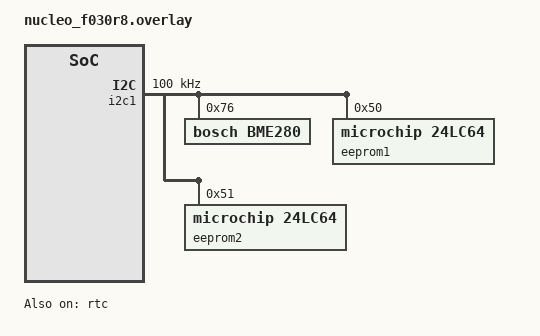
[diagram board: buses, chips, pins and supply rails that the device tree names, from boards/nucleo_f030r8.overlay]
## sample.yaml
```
sample:
  name: I2C eeprom 24LC64

tests:
  sample.sensor.tmp116:
    harness: console
    platform_allow:
      - nucleo_f030r8
    integration_platforms:
      - nucleo_f030r8
    tags: sensors
    depends_on: i2c
    harness_config:
      type: one_line
      regex:
        - "temp is (.*) oC"
      fixture: fixture_i2c_tmp116
```

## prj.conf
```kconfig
CONFIG_STDOUT_CONSOLE=y
CONFIG_I2C=y
CONFIG_SENSOR=y
CONFIG_SERIAL=y
CONFIG_RTC=y
CONFIG_COUNTER_RTC_STM32=y
CONFIG_TIMER=y

# ENABLE I2C eeprom (zephyr,i2c-target-eeprom)
# CONFIG_I2C_TARGET=y
# CONFIG_I2C_EEPROM_TARGET=y
# CONFIG_I2C_EEPROM_TARGET_RUNTIME_ADDR=y
```

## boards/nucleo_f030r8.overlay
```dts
/*
 * Copyright (c) 2023 JSC
 */

/** From st,stm32-i2c-v2.yaml

@see TIMING_R in user manual!!!

timings = <64000000 I2C_BITRATE_STANDARD 0x10707DBC>,
          <64000000 I2C_BITRATE_FAST 0x00603D56>,
          <56000000 I2C_BITRATE_STANDARD 0x10606DA4>,
          <56000000 I2C_BITRATE_FAST 0x00501D63>;
 */

&i2c1 {
	bme280@76 {
		compatible = "bosch,bme280";
		reg = <0x76>;
		status = "okay";
	};
	clock-frequency = <I2C_BITRATE_STANDARD>;
	timings = <8000000 I2C_BITRATE_STANDARD 0x10420F13>,
	          <16000000 I2C_BITRATE_STANDARD 0x30420F13>,
	          <48000000 I2C_BITRATE_STANDARD 0xB0420F13>;
	status = "okay";

	eeprom1: e24lc64@50 {
		compatible = "microchip,24lc64";
		reg = <0x50>;
		size = <8192>; // Size in bytes
		status = "okay";
	};

	eeprom2: e24lc64@51 {
		compatible = "microchip,24lc64";
		reg = <0x51>;
		size = <8192>; // Size in bytes
		status = "okay";
	};

//16.384
};

// &usart1 {
// 	pinctrl-0 = < &usart1_tx_pc13 &usart1_rx_pc14 >;
// };
// &usart1 {
// 	// usart1: serial@40013800 {
// 	// 	compatible = "st,stm32-usart", "st,stm32-uart";
// 	// 	reg = < 0x40013800 0x400 >;
// 	// 	clocks = < &rcc 0x18 0x4000 >;
// 	// 	resets = < &rctl 0x18e >;
// 	// 	interrupts = < 0x1b 0x0 >;
// 		status = "okay";
// 		// pinctrl-0 = < &usart1_tx_pc13 &usart1_rx_pc14 >;
// 	// 	pinctrl-names = "default";
// 	// 	current-speed = < 0x1c200 >;
// 	// };
// };

&rtc {
    status="okay";
    clocks = < &rcc 0x1c 0x10000000 >, < &rcc STM32_SRC_LSE RTC_SEL(1) >;
}; 

&clk_lse {
    status="okay";
    driving-capability = < 0x1 >;
    /delete-property/ lse-bypass;
};
```

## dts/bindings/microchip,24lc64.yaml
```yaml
# Copyright (c) 2023 JSC
#
# SPDX-License-Identifier: Apache-2.0

description: Microchip 24lc64 I2C eeprom

include: base.yaml

compatible: "microchip,24lc64"

properties:
  size:
    type: int
    description: Total EEPROM size in bytes
    required: true
  read-only:
    type: boolean
    description: Disable writes to the EEPROM
```

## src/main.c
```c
#include <zephyr/devicetree.h>
#include <zephyr/drivers/sensor.h>
#include <zephyr/drivers/eeprom.h>
#include <zephyr/sys/printk.h>
#include <zephyr/sys/__assert.h>
#include <zephyr/drivers/eeprom.h>
#include "rtc.h"
#include "esp8266.h"
#include "eeprom.h"

#define STACKSIZE_UPLOAD 1300
#define STACKSIZE_WIFI 350 //smaller does not work
#define STACKSIZE_SLEEP 300
#define STACKSIZE_EEPROM 470 // smaller does not work


#define rtc_device_node DT_NODELABEL(rtc) //RTC node
#define UART_DEVICE_NODE DT_NODELABEL(usart1) //Uart node
#define EEPROM_NODE DT_COMPAT_GET_ANY_STATUS_OKAY(zephyr_i2c-target-eeprom)

struct device *const uart_dev = DEVICE_DT_GET(UART_DEVICE_NODE);
static const struct device *const rtc_dev = DEVICE_DT_GET(rtc_device_node);

K_SEM_DEFINE(wifi_ready, 0, 1);  // Semaphore to signal Wi-Fi connection
K_SEM_DEFINE(wifi_fail, 0, 1);  // Semaphore to signal Wi-Fi connection
K_SEM_DEFINE(data_ready, 0, 1);      // Semaphore to signal data is ready for upload
K_SEM_DEFINE(upload_completed, 0, 1); // Semaphore to signal completed data upload
K_SEM_DEFINE(sleep_done, 0, 1); //Semaphore given by timer to start measurement




int connected = 0;
int backlogStart = 0;
int counterWrite = 0;
int firstCon = 1;


void timerInterrupt()
{
	k_sem_give(&sleep_done);
}

K_TIMER_DEFINE(timer3, timerInterrupt, NULL);


void sleepDevice() 
{	
	printk("sleep thread running\n");
	while(1)
	{
		if(firstCon==1)								//If wifi connection has been made on startup, start the timer
		{
			k_sem_take(&wifi_ready, K_FOREVER);
			printk("Wifi connected first time\n");
			k_timer_start(&timer3, K_MSEC(0), K_SECONDS(60));
			firstCon = 0;
			continue;
		}
		k_sem_take(&upload_completed, K_FOREVER);
		printk("Sleepdevice...\n");	
	}
}

void wifi_connect() 
{
	printk("wifi thread running\n");
	while(1)
	{
		k_sem_take(&wifi_fail, K_FOREVER);

		char* resp;	//String to save response from ESP															
        // resp = sendESP("AT+CWJAP=\"iPhone van Joey\",\"123456789\"\r\n", uart_dev, at);
		resp = sendESP("AT+CWJAP=\"vNoort\",\"Jol!no2020\"\r\n", uart_dev, at);
        k_sleep(K_MSEC(300));//Slight delay because the ESP needs time to set everything up
        const char *lastFourCharacters = resp + strlen(resp) - strlen("FAIL\r\n"); 			//Get the last characters to check for FAIL\r\n
        if(strcmp(lastFourCharacters, "FAIL\r\n") == 0)
        {
			if(firstCon == 1)	//If it is startup, keep trying
			{
				printk("FAIL on startup, trying again...\n");
				k_sem_give(&wifi_fail);
            	continue;
			}
			k_sem_give(&upload_completed);	//Go to sleep
			continue;
        }
		if(firstCon == 1)	//At first connection, Sync the rtc
		{
			resp = sendESP("AT+CIPSNTPCFG=1,1,\"0.nl.pool.ntp.org\"\r\n", uart_dev, at);

			k_sleep(K_MSEC(500));				//For some reason the ESP needs time to get the config right otherwise it will return Epoch 0

			resp = sendESP("AT+CIPSNTPTIME?\r\n", uart_dev, at);						
			k_sleep(K_MSEC(200));
			parseTime(resp, rtc_dev);			//Parse the response of the ESP to get the correct time in the RTC
			connected=1;
			k_sem_give(&wifi_ready);
		}
		else
		{
			connected=1;						//Signal to other functions that there is/should be an internet connection
			k_sem_give(&data_ready);
		}
	}
}

void eeprom_thread() {
	printk("TEST eeprom\n");

    while (1) {
		k_sem_take(&sleep_done, K_FOREVER);
        // Perform EEPROM operations
		const struct device *sensor = DEVICE_DT_GET_ANY(bosch_bme280);
		struct sensor_value temp, press, humidity;
		int8_t * data[6];
		int8_t recieved;
		int32_t time = getEpochTime(rtc_dev);
		printk("Returned time: %d\n", time);
		
		//recieve the data from the sensor
		sensor_sample_fetch(sensor);
		sensor_channel_get(sensor, SENSOR_CHAN_AMBIENT_TEMP, &temp);
		sensor_channel_get(sensor, SENSOR_CHAN_PRESS, &press);
		sensor_channel_get(sensor, SENSOR_CHAN_HUMIDITY, &humidity);

		//convert the data from the sensor to int8_t for effiecient storage
		data[0] = temp.val1;
		data[1] = temp.val2/10000;
		data[2] = press.val1;
		data[3] = press.val2/10000;
		data[4] = humidity.val1;
		data[5] = humidity.val2/10000;    

		printk("\n%d %d.%02d %d.%02d %d.%02d %d\n",
		time, data[0], data[1], data[2], data[3], data[4], data[5], counterWrite/10);

		writeBigEeprom(counterWrite,time);
		//count four by the counter because time is four bytes instead of one
		counterWrite = counterWrite + 4;
		time++;
		k_sleep(K_MSEC(10));
		for(int x = 0; x<6; x++)
		{
			writeEeprom(counterWrite,data[x]);
			//count by one because data is one byte
			counterWrite++;
			k_sleep(K_MSEC(10));
		}

		if(counterWrite > 14400)
		{
			//if the counter reaches this number there will be an backlog of 24 hours
			counterWrite = 0;
		}

		if(connected == 0)
		{
			printk("Retry wifi connect\n");
			k_sem_give(&wifi_fail);
		}

        // Signal that data is ready for upload
        k_sem_give(&data_ready);
    }
}

void upload_thread() {
	printk("upload thread running\n");
	int32_t lastTime = 0;

	while(1)
	{
		// Wait for data to be ready for upload
		k_sem_take(&data_ready, K_FOREVER);
		uint8_t sent = 0;	//Track the amount of sucessfull requests
		if(connected==0)	//If wifi connect fails, go to sleep
		{
			k_sem_give(&upload_completed);
			continue;
		}
		

		char* resp;
		resp = sendESP("AT\r\n", uart_dev, at);
		do
		{
			storageData data = returnStorageData(backlogStart);	//Get data from eeprom
			measurementStruct meas;

			if(data.time < lastTime)	//If the new time is longer ago than the last time, add 60 seconds to the last time. --This had to do with not reading the right value out of eeprom every 16 times due to using 10 bytes per measurement instead of something divisable by 4
			{
				lastTime += 60;
				meas = sendMeasurement(data.temp1,data.temp2, data.press1,data.press2, data.humid1,data.humid2, lastTime, uart_dev);
			}
			else
			{
				printk("Lasttime: %ld, this time: %ld\n", lastTime, data.time);
				meas = sendMeasurement(data.temp1,data.temp2, data.press1,data.press2, data.humid1,data.humid2, data.time, uart_dev);
				lastTime = data.time;
			}

			 
			printk("COUNTERWRITE: %d\n", counterWrite);
			printk("BACKLOGSTART: %d\n", backlogStart);
			
			resp = sendESP(meas.tcp, uart_dev, tcp);											//CIPSTART
			// printk("%s", resp);
			k_sleep(K_MSEC(500));
			const char *lastFourCharacters;
			lastFourCharacters = resp + strlen(resp) - strlen("ERROR\r\n");
			if(strcmp(lastFourCharacters, "ERROR\r\n") == 0)									//If it fails, connection must have been lost so jump out of do-while and sleep
			{
				connected = 0;
				printk("Upload failed\n");
				k_sem_give(&upload_completed);
				break;
			}

			resp = sendESP(meas.cipsend, uart_dev, tcp);										//CIPSEND=
			// printk("%s", resp);
			k_sleep(K_MSEC(200));
			lastFourCharacters = resp + strlen(resp) - strlen("ERROR\r\n");
			if(strcmp(lastFourCharacters, "ERROR\r\n") == 0)									//If it fails, connection must have been lost so jump out of do-while and sleep
			{
				connected = 0;
				printk("Upload failed\n");
				k_sem_give(&upload_completed);
				break;
			}
			else{//Successfull request
				resp = sendESP(meas.request, uart_dev, req);									//GET REQUEST
				lastFourCharacters = resp + strlen(resp) - strlen("ERROR\r\n");
				if(strcmp(lastFourCharacters, "ERROR\r\n") == 0)									//If it fails, connection must have been lost so jump out of do-while and sleep
				{
					connected = 0;
					printk("Upload failed\n");
					k_sem_give(&upload_completed);
					break;
				}

				
			}
			sent++;	//Request sucessfull
			backlogStart += 10;	//Backlog +10 for eeprom index
			if(backlogStart > 14400)	//Go back to 0 if maximum eeprom index is reached
			{
				backlogStart = 0;
			}
			k_sleep(K_MSEC(100));
			resp = sendESP("AT+CIPCLOSE\r\n", uart_dev, at);	//Close connection to website

		}while(backlogStart != counterWrite || sent > 47);		//To make sure a measurement is not done in the middle of a ESP uart message, limit to 48 emasurements per minute.

		if(connected != 0)	//If the while loop is broken out of, then connection was lost and we set the backlogstart to counterwrite to ensure that when wifi is back all measurements are sent to the database
		{
			backlogStart = counterWrite;
			k_sem_give(&upload_completed);		
		}
	}
}


K_THREAD_DEFINE(wifi_connect_id, STACKSIZE_WIFI, wifi_connect, NULL, NULL, NULL, 7, 0, 0);
K_THREAD_DEFINE(eeprom_thread_id, STACKSIZE_EEPROM, eeprom_thread, NULL, NULL, NULL, 5, 0, 0);
K_THREAD_DEFINE(upload_thread_id, STACKSIZE_UPLOAD, upload_thread, NULL, NULL, NULL, 7, 0, 0);
K_THREAD_DEFINE(waiting_thread_id, STACKSIZE_SLEEP, sleepDevice, NULL, NULL, NULL, 7, 0, 0);

// K_THREAD_STACK_DEFINE(wifi_connect_stack, STACKSIZE_WIFI);
// K_THREAD_STACK_DEFINE(eeprom_thread_stack, STACKSIZE);
// K_THREAD_STACK_DEFINE(upload_thread_stack, STACKSIZE);
// K_THREAD_STACK_DEFINE(waiting_thread_stack, STACKSIZE);

void main(void) {

	printk("TEST MAIN\n");
    if (!device_is_ready(uart_dev)) {
        printk("UART device not found!");
        return;
    }
	int ret = uart_irq_callback_user_data_set(uart_dev, readUsart, NULL);
    uart_irq_rx_enable(uart_dev);

	k_sem_give(&wifi_fail);
    // Wait forever
    k_sleep(K_FOREVER);
}

   
```

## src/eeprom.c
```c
#include "eeprom.h"

#include <zephyr/kernel.h>
#include <zephyr/device.h>
#include <zephyr/drivers/sensor.h>
#include <zephyr/drivers/eeprom.h>
#include <zephyr/sys/printk.h>
#include <zephyr/sys/__assert.h>
#include <zephyr/devicetree.h>
#include <zephyr/drivers/eeprom.h>

#define NODE_EP1 DT_NODELABEL(eeprom1)
#define NODE_EP2 DT_NODELABEL(eeprom2)
const struct device *const dev1 = DEVICE_DT_GET(NODE_EP1);
const struct device *const dev2 = DEVICE_DT_GET(NODE_EP2);

void writeEeprom(int counter, int8_t data)
{
//this function is for writing 1 byte to eeprom
	int ret;
	//because we use 2 eeprom chips the first half will be stored on one chip and the other on the other half
	if (counter < 7200) {
		ret = eeprom_write(dev1, counter, &data, sizeof(data));
	} else {
		//the -7200 is because the writing needs to start at 0 not 7200
		ret = eeprom_write(dev2, counter - 7200, &data, sizeof(data));
	}
	if (ret) {
		printk("Failed to write eeprom (%d)\n", ret);
	}
}

void writeBigEeprom(int counter, int32_t data)
{
//this function is for writing 4 bytes to eeprom
	int ret;
	if (counter < 7200) {
		ret = eeprom_write(dev1, counter, &data, sizeof(data));
	} else {
		ret = eeprom_write(dev2, counter - 7200, &data, sizeof(data));
	}
	if (ret) {
		printk("Failed to write eeprom (%d)\n", ret);
	}
}

int8_t readEeprom(int counter)
{
//this function is to read 1 byte from the eeprom chip
	int ret;
	int8_t data;
	int8_t eeprom_data[sizeof(int8_t)];

	if (counter < 7200) {
		ret = eeprom_read(dev1, counter, eeprom_data, sizeof(eeprom_data));
	} else {
		ret = eeprom_read(dev2, counter - 7200, eeprom_data, sizeof(eeprom_data));
	}
	if (ret) {
		printk("Failed to read eeprom (%d)\n", ret);
	}
	
	data = (uint8_t)(*eeprom_data);
	k_sleep(K_USEC(5));
	return data;
}

int32_t readBigEeprom(int counter)
{
//this function is to read 4 bytes from the eeprom chip
	int ret;
	int32_t data;
	int32_t eeprom_data[sizeof(int8_t)];

	if (counter < 7200) {
		ret = eeprom_read(dev1, counter, eeprom_data, sizeof(eeprom_data));
	} else {
		ret = eeprom_read(dev2, counter - 7200, eeprom_data, sizeof(eeprom_data));
	}
	if (ret) {
		printk("Failed to read eeprom (%d)\n", ret);
	}
	
	data = (uint32_t)(*eeprom_data);
	k_sleep(K_USEC(10));
	return data;
}

storageData returnStorageData(int counter)
{
//this function return a struct with the data needed
	int dataCounter = counter;
	storageData data;
	data.time = readBigEeprom(dataCounter);
	dataCounter = dataCounter + 4;
	data.temp1 = readEeprom(dataCounter);
	dataCounter++;
	data.temp2 = readEeprom(dataCounter);
	dataCounter++;
	data.press1 = readEeprom(dataCounter);
	dataCounter++;
	data.press2 = readEeprom(dataCounter);
	dataCounter++;
	data.humid1 = readEeprom(dataCounter);
	dataCounter++;
	data.humid2 = readEeprom(dataCounter);
	printk("Time read from eeprom: %d\n", data.time);
	return data;
}
```

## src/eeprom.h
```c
#ifndef EEPROM_H_
#define EEPROM_H_
#include <stdio.h>
#include <stdint.h>
#include <time.h>

typedef struct 
{
    int8_t temp1;
    int8_t temp2;
    int8_t press1;
    int8_t press2;
    int8_t humid1;
    int8_t humid2;
    int32_t time;
}storageData;

storageData returnStorageData(int counter);
void writeEeprom( int counter, int8_t data );
void writeBigEeprom( int counter, int32_t data);
int8_t readEeprom( int counter);
int32_t readBigEeprom( int counter);

#endif /* EEPROM_H_ */
```

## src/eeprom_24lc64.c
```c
/*
 * Copyright (c) 2023 JSC
 *
 * SPDX-License-Identifier: Apache-2.0
 */


#include <zephyr/devicetree.h>
#include <zephyr/init.h>
#include <zephyr/drivers/eeprom.h>
#include <zephyr/drivers/i2c.h>
#include <zephyr/sys/printk.h>
#include <zephyr/logging/log.h>
#include "eeprom_24lc64.h"

#define DT_DRV_COMPAT microchip_24lc64
#define EEPROM_24LC64_SIZE 8*1024  // 64kbits, 8kB
#define DT_EEPROM_SIZE_LABEL size

LOG_MODULE_REGISTER(eeprom_24lc64, CONFIG_LOG_DEFAULT_LEVEL);


struct eeprom_24lc64_config {
	struct i2c_dt_spec i2c;
	uint16_t size;
};

static size_t eeprom_24lc64_size(const struct device *dev)
{
	int size = ((struct eeprom_24lc64_config*)dev->config)->size;
	return size;

}

static bool check_eeprom_bounds(const struct device *dev, off_t offset,
			       size_t len)
{
	if ((offset + len) > eeprom_24lc64_size(dev) ) {
		return false;
	}

	return true;
}


static int eeprom_24lc64_write(const struct device *dev, off_t offset,
			       const void *data, size_t len)
{
	const struct eeprom_24lc64_config *config = dev->config;

	if (!check_eeprom_bounds(dev, offset, len)) {
		return -EINVAL;
	}

	struct i2c_msg msg[2];
	uint16_t address = ((offset & 0xFF) << 8) | ((offset >> 8) & 0xFF);

	msg[0].buf = (uint8_t *)&address;
	msg[0].len = sizeof(address);
	msg[0].flags = I2C_MSG_WRITE;

	msg[1].buf = (uint8_t *)data;
	msg[1].len = len;
	// possible flags: I2C_MSG_RESTART | I2C_MSG_WRITE | I2C_MSG_STOP
	msg[1].flags = I2C_MSG_WRITE | I2C_MSG_STOP;

	return i2c_transfer_dt(&config->i2c, msg, 2);
}



static int eeprom_24lc64_read(const struct device *dev, off_t offset, void *data,
			      size_t len)
{
	const struct eeprom_24lc64_config *config = dev->config;
	uint16_t address = ((offset & 0xFF) << 8) | ((offset >> 8) & 0xFF);
	
	if (!check_eeprom_bounds(dev, offset, len)) {
		return -EINVAL;
	}
	return i2c_write_read_dt(&config->i2c, &address, sizeof(address), data, len);
}

static int eeprom_24lc64_init(const struct device *dev)
{
	const struct eeprom_24lc64_config *config = dev->config;

	if (!device_is_ready(config->i2c.bus)) {
		// return -ENODEV;
	}

	return 0;
}

static const struct eeprom_driver_api eeprom_24lc64_api = {
	.read = eeprom_24lc64_read,
	.write = eeprom_24lc64_write,
	.size = eeprom_24lc64_size,
};

#define DEFINE_24LC64(inst)						       \
	static const struct eeprom_24lc64_config eeprom_24lc64_config##inst= { \
		.i2c =  I2C_DT_SPEC_INST_GET(inst),		       \
		.size = DT_PROP(DT_INST(inst, DT_DRV_COMPAT), size), \
	};								       \
	DEVICE_DT_INST_DEFINE(inst, eeprom_24lc64_init, NULL,	       \
			      NULL, &eeprom_24lc64_config##inst, POST_KERNEL,   \
			      51, &eeprom_24lc64_api);

DT_INST_FOREACH_STATUS_OKAY(DEFINE_24LC64);
```

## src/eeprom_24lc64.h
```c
/*
 * Copyright (c) 2019 Centaur Analytics, Inc
 *
 * SPDX-License-Identifier: Apache-2.0
 */

#ifndef ZEPHYR_DRIVERS_EEPROM_24LC64_H_
#define ZEPHYR_DRIVERS_EEPROM_24LC64_H_




#endif /*  ZEPHYR_DRIVERS_EEPROM_24LC64_H_ */
```

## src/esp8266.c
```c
#include "esp8266.h"

K_MSGQ_DEFINE(uart_msgq, 2, 270, 4);
char send_buf[256];

void send_str(const struct device *dev, const char *str) {  //This functions sends the string over uart
    int msg_len = strlen(str);
    
    printk("Device %s sending: \"%s\"\n", dev->name, str);
    for (int i = 0; i < msg_len; i++) {
        uart_poll_out(dev, str[i]);
    }
 
}

measurementStruct sendMeasurement(int temp1, int temp2, int press1, int press2, int humid1, int humid2, int32_t timestamp, const struct device *uart_dev)   //This will return a struct containing strings to send to the ESP
{
    measurementStruct meas;
    meas.tcp = "AT+CIPSTART=\"TCP\",\"joey.lvannoort.com\",80\r\n"; //This command is consistent
    time_t convertedTime = (time_t)timestamp;
    struct tm *timeInfo = localtime(&convertedTime);
    char formattedDate[25]; // Buffer to hold the formatted time string
    char formattedTime[25]; // Buffer to hold the formatted time string

    strftime(formattedDate, sizeof(formattedDate), "%Y-%m-%d", timeInfo);
    strftime(formattedTime, sizeof(formattedTime), "%H:%M:%S", timeInfo);

    // printk("%s%%20%s\n", formattedDate, formattedTime);

    char request[500]; // Make sure the buffer is large enough to hold the formatted string
    snprintf(request, sizeof(request), "GET /weerstation_get.php?api_key=tPmAT5Ab3j7F9&temp=%d.%d&press=%d.%d&humid=%d.%d&timestamp=%s%%%%20%s HTTP/1.1\r\nHost: joey.lvannoort.com\r\n\r\n", temp1, temp2, press1, press2, humid1, humid2,formattedDate, formattedTime);
    meas.request = request;         
    // printk("Request: %s\n", request);
    char* requestsize[16];
    snprintf(requestsize,sizeof(requestsize),"AT+CIPSEND=%d\r\n", (strlen(request)-1));
    meas.cipsend=requestsize;
    return meas;
}

char* sendESP(const char* str, const struct device *uart_dev, status stat)//Send string to ESP and return the response
{
    
    snprintf(send_buf, 200, str);
    send_str(uart_dev, send_buf);
    
    return returnUsartStr(stat);
}

char* returnUsartStr(status stat)   //put characters from messagequeue into string and return it
{
    int ret;
    uint8_t ok = 0;
    uint16_t c;
    rx_buf_pos = 0;
    for(int i = 0; i< sizeof(rx_buf); i++)
    {
        rx_buf[i] = '\0';
    }
    char* check;
    char* check2;
    char* check3;

   

    switch(stat)    //Different commands can get different responses, the enum shows what responses it is expecting
    {
        case rst:
            check = "WIFI DISCONNECT\r\n";
            check2 = "WIFI GOT IP\r\n";
            break;
        case at:
            check = "OK\r\n";
            check2 = "FAIL\r\n";
            break;
        case tcp:
            check = "OK\r\n";
            check2 = "ERROR\r\n";
            break;
        case req:
            check = "OK\r\n";
            check2 = "WIFI DISCONNECT\r\n";
            check3 = "ERROR\r\n";
            break;
    }
   
    while(1)
    {
        ret = k_msgq_get(&uart_msgq, &c, K_FOREVER);
        printk("%c", c);
        if (ret == 0) {
            // printk("Received: %c\n", uart_data);
            rx_buf[rx_buf_pos] = c;
            rx_buf_pos++;
        }

        const char *lastFourCharacters = rx_buf + strlen(rx_buf) - strlen(check);
        const char *lastFourCharacters2 = rx_buf + strlen(rx_buf) - strlen(check2);
        const char *lastFourCharacters3 = rx_buf + strlen(rx_buf) - strlen(check3);

        if(strcmp(check, lastFourCharacters) == 0)
        {
            if(stat == req) //A sucessfull request will send back OK\r\n 3 times. So the response is received completely this way.
            {
                ok++;
                if(ok==3)
                {
                    return rx_buf;
                }
            }
            else
            {
                return rx_buf;
            }
        }
        else if(strcmp(check2, lastFourCharacters2) == 0)
        {
            return rx_buf;
        }
        else if(strcmp(check3, lastFourCharacters3) == 0)
        {
            return rx_buf;
        }
    }
}

void readUsart(const struct device *uart_dev, void *user_data)//The usart interrupt calss this function and will put the character into the messagequeue
{
    int ret;
    uint16_t c;
    
    ret = uart_poll_in(uart_dev, &c);
    if (ret == 0) {
        
        ret = k_msgq_put(&uart_msgq, &c, K_NO_WAIT);
        if (ret != 0) {
            printk("Failed to put data into message queue\n");
        }
        

    } else if (ret == -EAGAIN) {
        // No data available, handle it accordingly
    } else {
        // Handle error, if any
        printk("UART read error: %d\n", ret);
    }
}
```

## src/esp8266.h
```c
#ifndef esp8266_H_
#define esp8266_H_

#include <zephyr/kernel.h>
// #include <zephyr/devicetree.h>
#include <zephyr/device.h>
#include <zephyr/drivers/uart.h>
#include <string.h>
#include <stdio.h>
#include <time.h>



#define MSG_SIZE 512
typedef enum{
    rst=0,
    at,
    tcp,
    req
}status;
typedef struct
{
    char* tcp;
    char* cipsend;
    char* request;
}measurementStruct;



 
static char rx_buf[MSG_SIZE];
static int rx_buf_pos = 0;

void send_str(const struct device *dev, const char *str);
measurementStruct sendMeasurement(int temp1, int temp2, int press1, int press2, int humid1, int humid2, int32_t timestamp, const struct device *uart_dev);
void readUsart();
char* returnUsartStr(status stat);

char* sendESP(const char* str, const struct device *uart_dev, status stat);

#endif 
```

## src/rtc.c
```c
#include "rtc.h"

void parseTime(char* response, const struct device *rtc)//Parse string to Sync RTC
{
    printk("Received time: %s\n", response);
    struct tm parsed_time = {
        .tm_year = 2023-1900,
        .tm_mon = 10,
        .tm_mday = 1,
        .tm_hour = 12,
        .tm_min = 0,
        .tm_sec = 0,
        .tm_wday = 3,
    };
    char month[4];
    char wday[4];
    int day, year, hours, minutes, seconds;

    // Parse the response string and extract date and time components
    int parsed_items = sscanf(response, "AT+CIPSNTPTIME?\r\n+CIPSNTPTIME:%3s %3s %d %d:%d:%d %d\r\nOK\r\n",
                              wday, month, &parsed_time.tm_mday,
                              &hours, &minutes, &seconds, &year);

    // // Convert the month abbreviation to month number
    const char* months[] = {"Jan", "Feb", "Mar", "Apr", "May", "Jun",
                            "Jul", "Aug", "Sep", "Oct", "Nov", "Dec"};
    const char* wdays[] = {"Mon", "Tue", "Wed", "Thu", "Fri", "Sat", "Sun"}; //Even though they are not necessary, they are stored because they are different in a request so could cause for issues in unexpected scenarios

    for (int i = 0; i < 12; ++i) {
        if (strcmp(month, months[i]) == 0) {
            parsed_time.tm_mon = i;
            break;
        }
        if(i < 7)
        {
            if(strcmp(wday, wdays[i]) == 0)
            {
                parsed_time.tm_wday = i+1;
                break;
            }
        }
    }

    // // Adjust year (assuming 1900-based year count)
    parsed_time.tm_year = year - 1900;

    // // Set remaining time components
    parsed_time.tm_hour = hours;
    parsed_time.tm_min = minutes;
    parsed_time.tm_sec = seconds;
    // printk("Parsed seconds: %d", parsed_time.tm_sec);
    rtc_set_time(rtc, &parsed_time);
    rtc_get_time(rtc, &parsed_time);
    printk("Parsed Date and Time: %s", asctime(&parsed_time));
}

int32_t getEpochTime(const struct device *dev)//Return epoch time from RTC
{
    struct tm timeStruct = {
        .tm_year = 2023-1900,
        .tm_mon = 10,
        .tm_mday = 1,
        .tm_hour = 12,
        .tm_min = 0,
        .tm_sec = 0
    };
    // Convert the parsed time to Epoch time
    rtc_get_time(dev, &timeStruct);
    int32_t epochTime = mktime(&timeStruct);

    if (epochTime == -1) {
        printk("Failed to convert time to Epoch time\n");
        return NULL;
    }
    // printk("Test\n");
    return epochTime;
}
```

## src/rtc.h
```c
#include <zephyr/drivers/rtc.h>
// #include <zephyr/kernel.h>
#include <zephyr/device.h>
#include <zephyr/devicetree.h>
#include <zephyr/drivers/counter.h>
#include "time.h"

typedef struct tm parsed_time;

int32_t getEpochTime(const struct device *dev);
void parseTime(char* response, const struct device *rtc);
```
